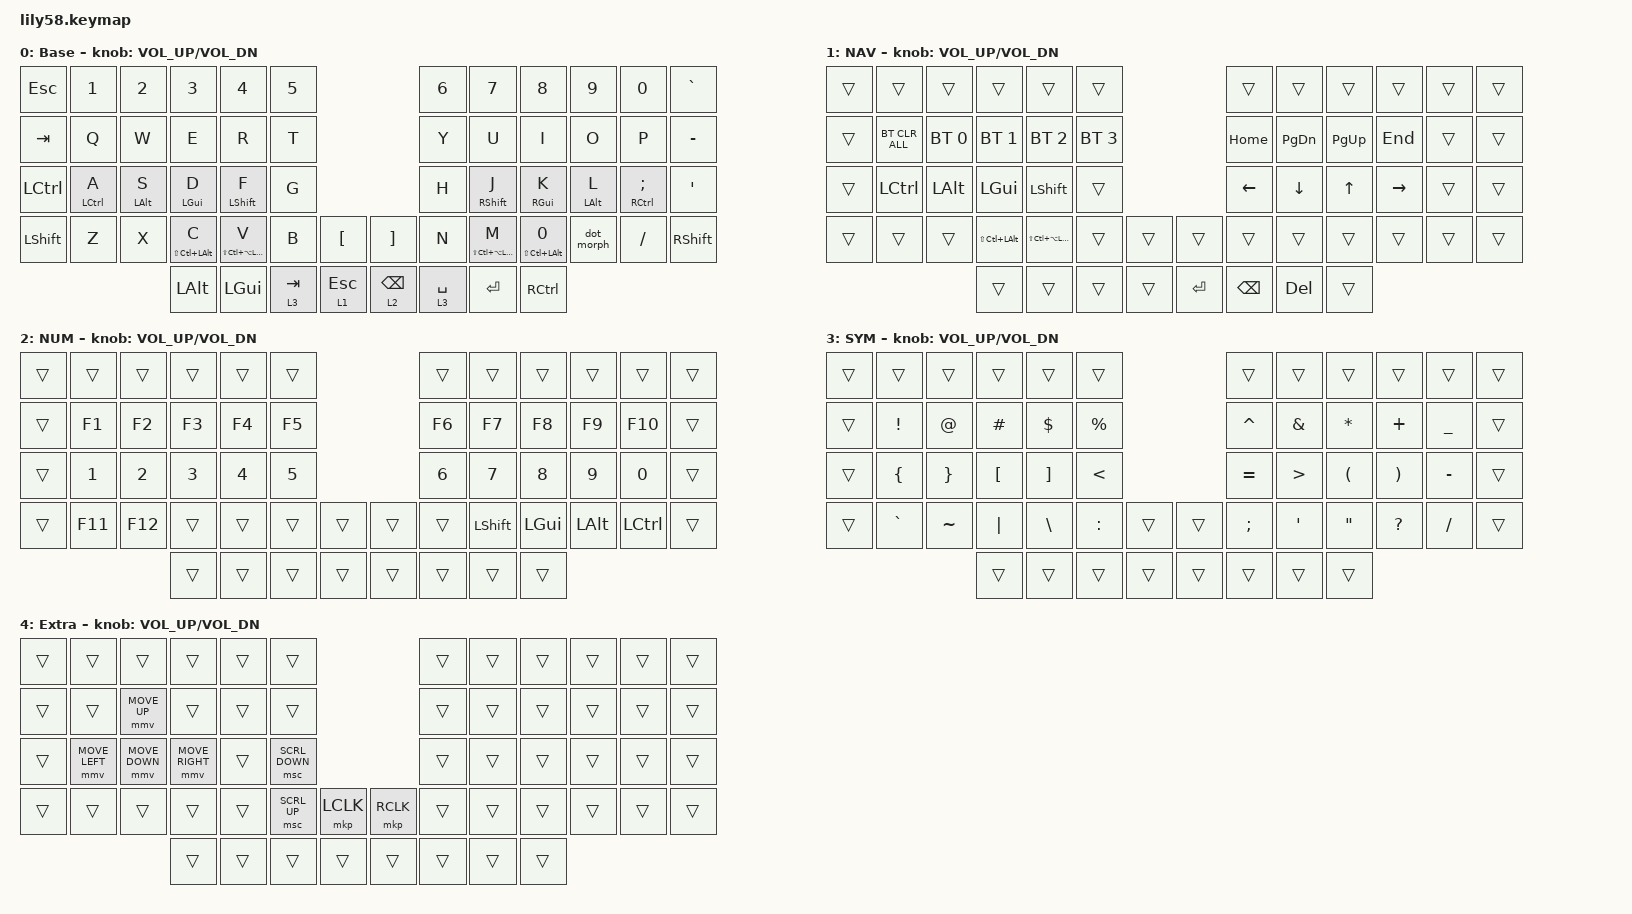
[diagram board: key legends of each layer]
 /*
 * Copyright (c) 2020 The ZMK Contributors
 *
 * SPDX-License-Identifier: MIT
 */

#include "zmk-nodefree-config/helper.h"
#include "zmk-nodefree-config/keypos_def/keypos_58keys.h"
#include <behaviors.dtsi>
#include <dt-bindings/zmk/bt.h>
#include <dt-bindings/zmk/ext_power.h>
#include <dt-bindings/zmk/keys.h>
#include <dt-bindings/zmk/pointing.h>

#define default_layer 0
#define lower_layer 1
#define raise_layer 2
#define adjust_layer 3
#define extra_layer 4

// Combo layer aliases for combos.dtsi
#define BASE 0
#define NAV 1
#define NUM 2

#include "combos.dtsi"

#define XXX &none
#define ___ &trans
#define QUICK_TAP_MS 175
#define HYP LS(LC(LA(LGUI)))
#define MEH LS(LC(LALT))

#define KEYS_L LT0 LT1 LT2 LT3 LT4 LM0 LM1 LM2 LM3 LM4 LB0 LB1 LB2 LB3 LB4
#define KEYS_R RT0 RT1 RT2 RT3 RT4 RM0 RM1 RM2 RM3 RM4 RB0 RB1 RB2 RB3 RB4
#define THUMBS LH0 LH1 LH2 LH3 RH0 RH1 RH2 RH3

#define MAKE_HRM(NAME, HOLD, TAP, TRIGGER_POS) \
    ZMK_BEHAVIOR(NAME, hold_tap, \
        flavor = "balanced"; \
        tapping-term-ms = <280>; \
        quick-tap-ms = <QUICK_TAP_MS>; \
        require-prior-idle-ms = <150>; \
        bindings = <HOLD>, <TAP>; \
        hold-trigger-key-positions = <TRIGGER_POS>; \
        hold-trigger-on-release; \
    )

MAKE_HRM(hml, &kp, &kp, KEYS_R THUMBS)
MAKE_HRM(hmr, &kp, &kp, KEYS_L THUMBS)
MAKE_HRM(hmr_meh, &kp, &comma_morph, KEYS_L THUMBS)

ZMK_BEHAVIOR(qexcl, mod_morph,
    bindings = <&kp QMARK>, <&kp EXCL>;
    mods = <(MOD_LSFT|MOD_RSFT)>;
)

ZMK_BEHAVIOR(comma_morph, mod_morph,
    bindings = <&kp COMMA>, <&kp SEMICOLON>;
    mods = <(MOD_LSFT|MOD_RSFT)>;
)

ZMK_BEHAVIOR(dot_morph, mod_morph,
    bindings = <&kp DOT>, <&kp COLON>;
    mods = <(MOD_LSFT|MOD_RSFT)>;
)

&caps_word {
    /delete-property/ ignore-numbers;
    continue-list = <BACKSPACE ENTER DELETE UNDERSCORE MINUS>;
};

&key_repeat {
    usage-pages = <HID_USAGE_KEY HID_USAGE_CONSUMER>;
};

&sk {
    release-after-ms = <2000>;
    quick-release;
};

&lt {
    flavor = "balanced";
    tapping-term-ms = <200>;
    quick-tap-ms = <QUICK_TAP_MS>;
};

/ {
    keymap {
        compatible = "zmk,keymap";

        default_layer {
            display-name = "Base";

            // ------------------------------------------------------------------------------------------------------------
            // |  ESC  |  1  |  2  |  3   |  4   |  5   |                   |  6   |  7    |  8    |  9   |   0   |   `   |
            // |  TAB  |  Q  |  W  |  E   |  R   |  T   |                   |  Y   |  U    |  I    |  O   |   P   |   -   |
            // |  CTRL |  A  |  S  |  D   |  F   |  G   |                   |  H   |  J    |  K    |  L   |   ;   |   '   |
            // | SHIFT |  Z  |  X  |  C   |  V   |  B   |   "["  |  |  "]"  |  N   |  M    |  ,    |  .   |   /   | SHIFT |
            //                     | ALT  | GUI  | TAB/S|  ESC/N |  | BSPC/N| SPC/S | RET   | CTRL  |

            bindings = <
&kp ESC    &kp N1  &kp N2  &kp N3    &kp N4    &kp N5                         &kp N6  &kp N7    &kp N8     &kp N9   &kp N0    &kp GRAVE
&kp TAB    &kp Q   &kp W   &kp E     &kp R     &kp T                          &kp Y   &kp U     &kp I      &kp O    &kp P     &kp MINUS
&kp LCTRL  &hml LCTRL A  &hml LALT S  &hml LGUI D  &hml LSHFT F  &kp G        &kp H  &hmr RSHFT J  &hmr RGUI K  &hmr LALT L  &hmr RCTRL SEMI  &kp SQT
&kp LSHFT  &kp Z   &kp X   &hml MEH C  &hml HYP V  &kp B   &kp LBKT     &kp RBKT  &kp N   &hmr HYP M  &hmr_meh MEH 0  &dot_morph  &kp FSLH  &kp RSHFT
                           &kp LALT  &kp LGUI  &lt 3 TAB   &lt 1 ESC    &lt 2 BSPC   &lt 3 SPACE   &kp RET  &kp RCTRL
            >;

            sensor-bindings = <&inc_dec_kp C_VOL_UP C_VOL_DN>;
        };

        lower_layer {
            display-name = "NAV";

            // TOTEM COMPATIBLE - Top row and outer columns empty
            // VIM navigation on right side (hjkl)
            // ------------------------------------------------------------------------------------------------------------
            // |       |     |     |      |      |      |                   |      |       |       |      |       |       |
            // |       |BTCLR| BT0 |  BT1 |  BT2 | BT3  |                   | HOME | PGDN  | PGUP  | END  |       |       |
            // |       | CTRL| ALT | GUI  | SHFT |      |                   |  ←   |   ↓   |   ↑   |  →   |       |       |
            // |       |     |     | MEH  | HYP  |      |        |  |       |      |       |       |      |       |       |
            //                     |      |      |      |        |  |  RET  | BSPC |  DEL  |       |

            bindings = <
&trans          &trans         &trans        &trans        &trans        &trans                          &trans     &trans     &trans     &trans    &trans     &trans
&trans          &bt BT_CLR_ALL &bt BT_SEL 0  &bt BT_SEL 1  &bt BT_SEL 2  &bt BT_SEL 3                    &kp HOME   &kp PG_DN  &kp PG_UP  &kp END   &trans     &trans
&trans          &kp LCTRL      &kp LALT      &kp LGUI      &kp LSHFT     ___                             &kp LEFT   &kp DOWN   &kp UP     &kp RIGHT &trans     &trans
&trans          ___            ___           &kp MEH       &kp HYP       ___           &trans    &trans  &trans     ___        ___        ___       &trans     &trans
                                             &trans        &trans        &trans        &trans    &kp RET &kp BSPC   &kp DEL    &trans
            >;

            sensor-bindings = <&inc_dec_kp C_VOL_UP C_VOL_DN>;
        };

        raise_layer {
            display-name = "NUM";

            // TOTEM COMPATIBLE - Top row and outer columns empty
            // ------------------------------------------------------------------------------------------------------------
            // |       |     |     |      |      |      |                   |      |       |       |      |       |       |
            // |       | F1  | F2  |  F3  |  F4  |  F5  |                   |  F6  |  F7   |  F8   |  F9  |  F10  |       |
            // |       |  1  |  2  |  3   |  4   |  5   |                   |  6   |   7   |   8   |  9   |   0   |       |
            // |       | F11 | F12 |      |      |      |        |  |       |      | SHFT  | GUI   | ALT  | CTRL  |       |
            //                     |      |      |      |        |  |       |      |       |       |

            bindings = <
&trans   &trans    &trans  &trans    &trans     &trans                        &trans     &trans     &trans     &trans    &trans     &trans
&trans   &kp F1    &kp F2  &kp F3    &kp F4     &kp F5                        &kp F6     &kp F7     &kp F8     &kp F9    &kp F10    &trans
&trans   &kp N1    &kp N2  &kp N3    &kp N4     &kp N5                        &kp N6     &kp N7     &kp N8     &kp N9    &kp N0     &trans
&trans   &kp F11   &kp F12 &trans    &trans     &trans     &trans    &trans  &trans     &kp LSHFT  &kp LGUI   &kp LALT  &kp LCTRL  &trans
                           &trans    &trans     &trans     &trans    &trans  &trans     &trans     &trans
            >;

            sensor-bindings = <&inc_dec_kp C_VOL_UP C_VOL_DN>;
        };

        adjust_layer {
            display-name = "SYM";

            // TOTEM COMPATIBLE - Top row and outer columns empty
            // Optimized for common rolls: -> => != == >= <= && || ++ --
            // Right hand: =, > adjacent for => and >=; -, > for ->; <, = for <=
            // ------------------------------------------------------------------------------------------------------------
            // |       |     |     |      |      |      |                   |      |       |       |      |       |       |
            // |       |  !  |  @  |  #   |  $   |  %   |                   |  ^   |   &   |   *   |  +   |   _   |       |
            // |       |  {  |  }  |  [   |  ]   |  <   |                   |  =   |   >   |   (   |  )   |   -   |       |
            // |       |  `  |  ~  |  |   |  \   |  :   |        |  |       |  ;   |   '   |   "   |  ?   |   /   |       |
            //                     |      |      |      |        |  |       |      |       |       |

            bindings = <
&trans  &trans     &trans     &trans    &trans    &trans                       &trans     &trans    &trans    &trans     &trans     &trans
&trans  &kp EXCL   &kp AT     &kp HASH  &kp DLLR  &kp PRCNT                    &kp CARET  &kp AMPS  &kp STAR  &kp PLUS   &kp UNDER  &trans
&trans  &kp LBRC   &kp RBRC   &kp LBKT  &kp RBKT  &kp LT                       &kp EQUAL  &kp GT    &kp LPAR  &kp RPAR   &kp MINUS  &trans
&trans  &kp GRAVE  &kp TILDE  &kp PIPE  &kp BSLH  &kp COLON  &trans    &trans  &kp SEMI   &kp SQT   &kp DQT   &kp QMARK  &kp FSLH   &trans
                              &trans    &trans    &trans     &trans    &trans  &trans     &trans    &trans
            >;

            sensor-bindings = <&inc_dec_kp C_VOL_UP C_VOL_DN>;
        };

        extra_layer {
            display-name = "Extra";

            // ------------------------------------------------------------------------------------------------------------
            // |       |     |     |      |      |      |                   |      |       |       |      |       |       |
            // |   `   |  1  |  2  |  3   |  4   |  5   |                   |  6   |   7   |   8   |  9   |   0   |       |
            // |   F1  |  F2 |  F3 |  F4  |  F5  |  F6  |                   |      |   <-  |   v   |  ^   |  ->   |       |
            // |   F7  |  F8 |  F9 |  F10 |  F11 |  F12 |        |  |       |  +   |   -   |   =   |  [   |   ]   |   \   |
            //                     |      |      |      |        |  |       |      |       |       |

            bindings = <
&trans  &trans          &trans          &trans           &trans  &trans                                  &trans  &trans  &trans  &trans  &trans  &trans
&trans  &trans          &mmv MOVE_UP    &trans           &trans  &trans                                  &trans  &trans  &trans  &trans  &trans  &trans
&trans  &mmv MOVE_LEFT  &mmv MOVE_DOWN  &mmv MOVE_RIGHT  &trans  &msc SCRL_DOWN                          &trans  &trans  &trans  &trans  &trans  &trans
&trans  &trans          &trans          &trans           &trans  &msc SCRL_UP    &mkp LCLK    &mkp RCLK  &trans  &trans  &trans  &trans  &trans  &trans
                                        &trans           &trans  &trans          &trans       &trans     &trans  &trans  &trans
            >;

            sensor-bindings = <&inc_dec_kp C_VOL_UP C_VOL_DN>;
        };
    };
};
